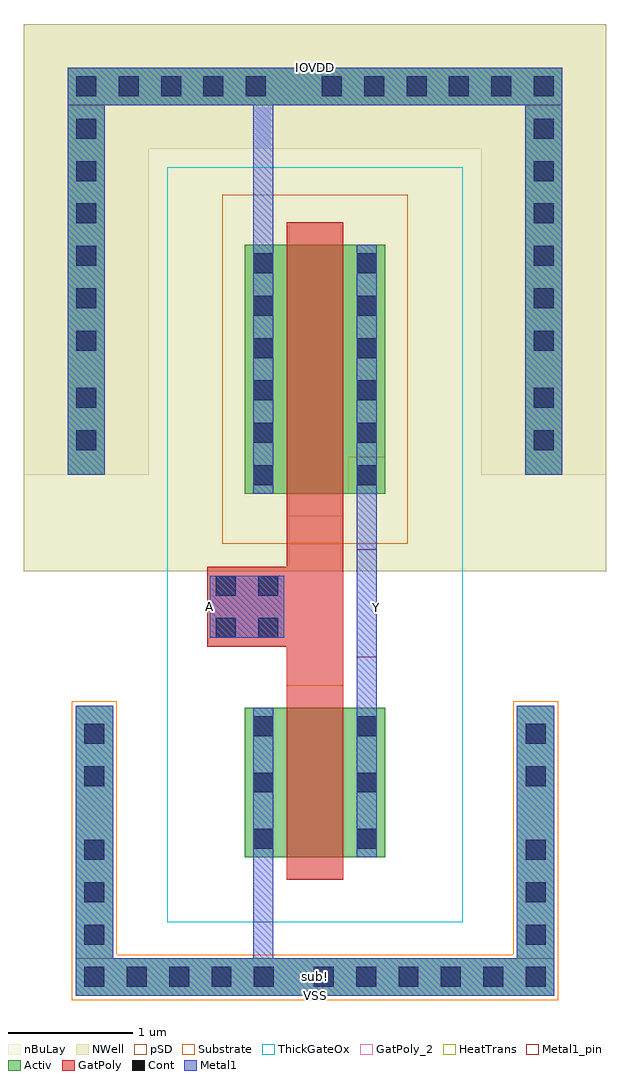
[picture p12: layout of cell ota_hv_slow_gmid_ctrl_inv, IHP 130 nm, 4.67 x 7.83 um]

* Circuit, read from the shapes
.subckt ota_hv_slow_gmid_ctrl_inv A IOVDD VSS Y
XM1 Y A VSS VSS sg13_hv_nmos w=1.2u l=0.45u
XM2 Y A IOVDD IOVDD sg13_hv_pmos w=2u l=0.45u
.ends

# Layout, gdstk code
import gdstk
lib = gdstk.Library(unit=1e-6, precision=1e-09)
def R(c, l, rs):  # rectangles x0, y0, x1, y1
    for r in rs: c.add(gdstk.rectangle(r[:2], r[2:], *l))
def A(c, l, x, y, w, h, nx, ny, dx, dy):  # array of equal rectangles
    R(c, l, [(x+i*dx, y+j*dy, x+i*dx+w, y+j*dy+h) for i in range(nx) for j in range(ny)])
Activ = (1, 0)
GatPoly = (5, 0)
GatPoly_2 = (5, 2)
Cont = (6, 0)
Metal1 = (8, 0)
Metal1_pin = (8, 2)
pSD = (14, 0)
NWell = (31, 0)
nBuLay = (32, 0)
Substrate = (40, 0)
ThickGateOx = (44, 0)
HeatTrans = (51, 0)

pmoshv_5 = lib.new_cell('pmosHV$5')
R(pmoshv_5, Activ, [(0,0,0.3,0.3), (0,0,1.13,2), (0.83,0,1.13,0.3)])
R(pmoshv_5, GatPoly, [(0.34,-0.18,0.79,2.18)])
R(pmoshv_5, GatPoly_2, [(0.34,-0.18,0.79,2.18)])
A(pmoshv_5, Cont, 0.07, 0.07, 0.16, 0.16, 1, 6, 0, 0.34)
A(pmoshv_5, Cont, 0.9, 0.07, 0.16, 0.16, 1, 6, 0, 0.34)
R(pmoshv_5, Metal1, [(0.07,0,0.23,2), (0.9,0,1.06,2)])
R(pmoshv_5, Metal1_pin, [(0.07,0,0.23,2), (0.9,0,1.06,2)])
R(pmoshv_5, pSD, [(-0.18,-0.4,1.31,2.4)])
R(pmoshv_5, NWell, [(-0.62,-0.62,1.75,2.62)])
R(pmoshv_5, Substrate, [(0.83,0,1.13,0.3)])
R(pmoshv_5, ThickGateOx, [(-0.62,-0.62,1.75,2.62)])
R(pmoshv_5, HeatTrans, [(0.34,-0.18,0.79,2.18)])
pmoshv_5.add(gdstk.Label('pmosHV', (0.565,1), layer=63, texttype=0))
pmoshv_5.add(gdstk.Label('pmos', (0.565,1), layer=51, texttype=0))

nmoshv_3 = lib.new_cell('nmosHV$3')
R(nmoshv_3, Activ, [(0,0,0.3,0.3), (0,0,1.13,1.2), (0.83,0,1.13,0.3)])
R(nmoshv_3, GatPoly, [(0.34,-0.18,0.79,1.38)])
R(nmoshv_3, GatPoly_2, [(0.34,-0.18,0.79,1.38)])
A(nmoshv_3, Cont, 0.07, 0.07, 0.16, 0.16, 1, 3, 0, 0.45)
A(nmoshv_3, Cont, 0.9, 0.07, 0.16, 0.16, 1, 3, 0, 0.45)
R(nmoshv_3, Metal1, [(0.07,0,0.23,1.2), (0.9,0,1.06,1.2)])
R(nmoshv_3, Metal1_pin, [(0.07,0,0.23,1.2), (0.9,0,1.06,1.2)])
R(nmoshv_3, ThickGateOx, [(-0.27,-0.52,1.4,1.72)])
R(nmoshv_3, HeatTrans, [(0.34,-0.18,0.79,1.38)])
nmoshv_3.add(gdstk.Label('nmosHV', (0.565,0.6), layer=63, texttype=0))
nmoshv_3.add(gdstk.Label('nmosHV', (0.565,0.6), layer=51, texttype=0))

via_stack_16 = lib.new_cell('via_stack$16')
R(via_stack_16, GatPoly, [(-0.32,-0.32,0.32,0.32)])
R(via_stack_16, Cont, [(-0.25,-0.25,-0.09,-0.09), (0.09,-0.25,0.25,-0.09), (-0.25,0.09,-0.09,0.25), (0.09,0.09,0.25,0.25)])
R(via_stack_16, Metal1, [(-0.3,-0.25,0.3,0.25)])

ota_hv_slow_gmid_ctrl_in = lib.new_cell('ota_hv_slow_gmid_ctrl_inv')
R(ota_hv_slow_gmid_ctrl_in, Activ, [(-1.92,-3.115,1.92,-2.815), (-1.92,-2.815,-1.62,-0.79), (1.62,-2.815,1.92,-0.79), (-1.985,1.065,-1.685,4.03), (1.685,1.065,1.985,4.03), (-1.985,4.03,1.985,4.33)])
R(ota_hv_slow_gmid_ctrl_in, GatPoly, [(-0.225,-0.625,0.225,0.73), (-0.785,-0.285,-0.225,0.29)])
A(ota_hv_slow_gmid_ctrl_in, Cont, -1.85, -3.045, 0.16, 0.16, 5, 1, 0.34, 0)
A(ota_hv_slow_gmid_ctrl_in, Cont, -0.01, -3.045, 0.16, 0.16, 6, 1, 0.34, 0)
A(ota_hv_slow_gmid_ctrl_in, Cont, -1.85, -2.705, 0.16, 0.16, 1, 3, 0, 0.34)
A(ota_hv_slow_gmid_ctrl_in, Cont, 1.69, -2.705, 0.16, 0.16, 1, 3, 0, 0.34)
A(ota_hv_slow_gmid_ctrl_in, Cont, -1.915, 2.06, 0.16, 0.16, 1, 6, 0, 0.34)
A(ota_hv_slow_gmid_ctrl_in, Cont, 1.755, 2.06, 0.16, 0.16, 1, 6, 0, 0.34)
A(ota_hv_slow_gmid_ctrl_in, Cont, -1.915, 4.1, 0.16, 0.16, 5, 1, 0.34, 0)
A(ota_hv_slow_gmid_ctrl_in, Cont, 0.055, 4.1, 0.16, 0.16, 6, 1, 0.34, 0)
R(ota_hv_slow_gmid_ctrl_in, Cont, [(-1.85,-1.435,-1.69,-1.275), (1.69,-1.435,1.85,-1.275), (-1.85,-1.095,-1.69,-0.935), (1.69,-1.095,1.85,-0.935), (-1.915,1.26,-1.755,1.42), (1.755,1.26,1.915,1.42), (-1.915,1.6,-1.755,1.76), (1.755,1.6,1.915,1.76)])
R(ota_hv_slow_gmid_ctrl_in, Metal1, [(-1.92,-3.115,1.92,-2.815), (-0.495,-3.115,-0.335,-1.745), (-1.92,-2.815,-1.62,-0.79), (1.62,-2.815,1.92,-0.79), (0.335,-1.07,0.495,1.06), (-1.985,1.065,-1.685,4.03), (1.685,1.065,1.985,4.03), (-0.495,2.595,-0.335,4.33), (-1.985,4.03,1.985,4.33)])
R(ota_hv_slow_gmid_ctrl_in, Metal1_pin, [(-1.92,-3.115,1.92,-2.815), (0.335,-0.4,0.495,0.465), (-0.845,-0.245,-0.245,0.255), (-1.985,4.03,1.985,4.33)])
R(ota_hv_slow_gmid_ctrl_in, pSD, [(-1.95,-3.15,1.95,-2.785), (-1.95,-2.785,-1.59,-0.755), (1.59,-2.785,1.95,-0.755)])
R(ota_hv_slow_gmid_ctrl_in, NWell, [(-2.335,0.29,2.335,4.68)])
R(ota_hv_slow_gmid_ctrl_in, nBuLay, [(-2.335,1.065,-1.335,3.68), (1.335,1.065,2.335,3.68), (-2.335,3.68,2.335,4.68)])
R(ota_hv_slow_gmid_ctrl_in, Substrate, [(-1.95,-3.15,1.95,-2.785), (-1.95,-2.785,-1.59,-0.755), (1.59,-2.785,1.95,-0.755)])
R(ota_hv_slow_gmid_ctrl_in, ThickGateOx, [(-1.185,-2.525,1.185,3.53)])
ota_hv_slow_gmid_ctrl_in.add(gdstk.Reference(pmoshv_5, (-0.565,0.91)))
ota_hv_slow_gmid_ctrl_in.add(gdstk.Reference(nmoshv_3, (-0.565,-2.005)))
ota_hv_slow_gmid_ctrl_in.add(gdstk.Reference(via_stack_16, (-0.545,0.005)))
ota_hv_slow_gmid_ctrl_in.add(gdstk.Label('sub!', (0,-2.965), layer=63, texttype=0))
ota_hv_slow_gmid_ctrl_in.add(gdstk.Label('A', (-0.845,0.005), layer=8, texttype=2))
ota_hv_slow_gmid_ctrl_in.add(gdstk.Label('Y', (0.495,-0.005), layer=8, texttype=2))
ota_hv_slow_gmid_ctrl_in.add(gdstk.Label('IOVDD', (0,4.33), layer=8, texttype=2))
ota_hv_slow_gmid_ctrl_in.add(gdstk.Label('VSS', (0,-3.115), layer=8, texttype=2))

lib.write_gds('ota_hv_slow_gmid_ctrl_inv.gds')
